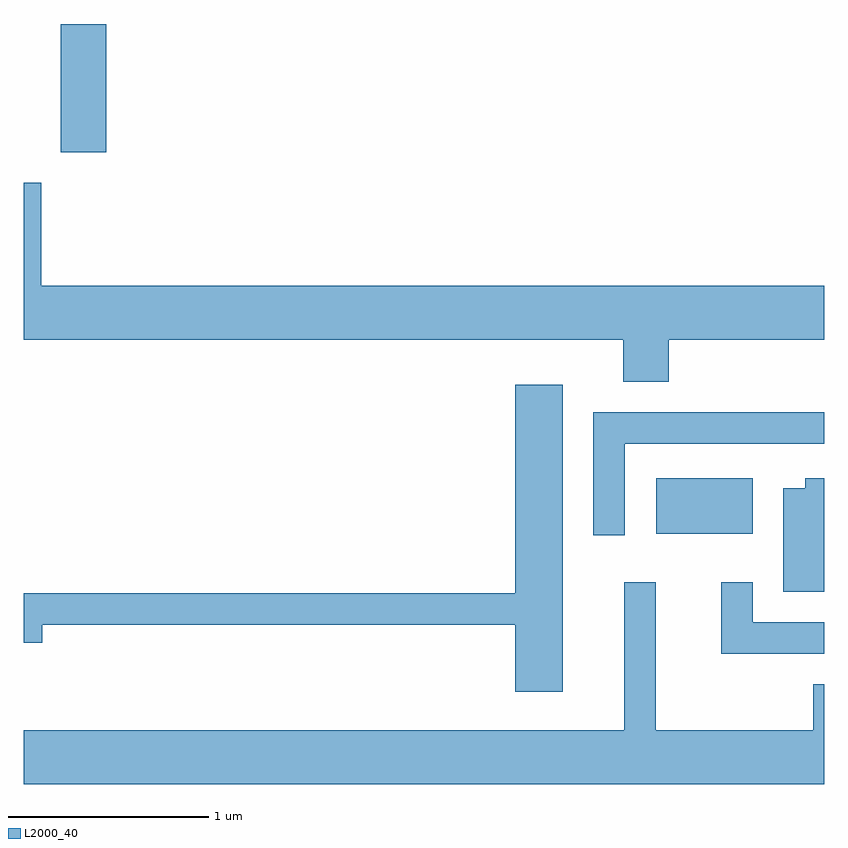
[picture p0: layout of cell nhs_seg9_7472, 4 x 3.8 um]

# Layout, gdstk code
import gdstk
lib = gdstk.Library(unit=1e-6, precision=1e-09)
def R(c, l, rs):  # rectangles x0, y0, x1, y1
    for r in rs: c.add(gdstk.rectangle(r[:2], r[2:], *l))
def P(c, l, *ps):  # polygons
    for p in ps: c.add(gdstk.Polygon(p, *l))
L2000_40 = (2000, 40)

nhs_seg9_7472 = lib.new_cell('nhs_seg9_7472')
R(nhs_seg9_7472, L2000_40, [(408.771,2061.886,409.254,2062.164), (405.796,2063.791,406.024,2064.432)])
P(nhs_seg9_7472, L2000_40, [(408.834,2062.856),(409.611,2062.856),(409.611,2063.124),(405.699,2063.124),(405.699,2063.639),(405.611,2063.639),(405.611,2062.856),(408.606,2062.856),(408.606,2062.646),(408.834,2062.646)],
  [(408.304,2062.629),(408.066,2062.629),(408.066,2061.589),(405.611,2061.589),(405.611,2061.341),(405.704,2061.341),(405.704,2061.431),(408.066,2061.431),(408.066,2061.096),(408.304,2061.096)],
  [(408.614,2062.336),(409.611,2062.336),(409.611,2062.494),(408.456,2062.494),(408.456,2061.878),(408.614,2061.878)],
  [(409.611,2062.164),(409.516,2062.164),(409.516,2062.114),(409.406,2062.114),(409.406,2061.596),(409.611,2061.596)],
  [(409.611,2061.134),(409.556,2061.134),(409.556,2060.904),(408.769,2060.904),(408.769,2061.643),(408.611,2061.643),(408.611,2060.904),(405.611,2060.904),(405.611,2060.636),(409.611,2060.636)],
  [(409.611,2061.444),(409.254,2061.444),(409.254,2061.643),(409.096,2061.643),(409.096,2061.286),(409.611,2061.286)])

lib.write_gds('nhs_seg9_7472.gds')
